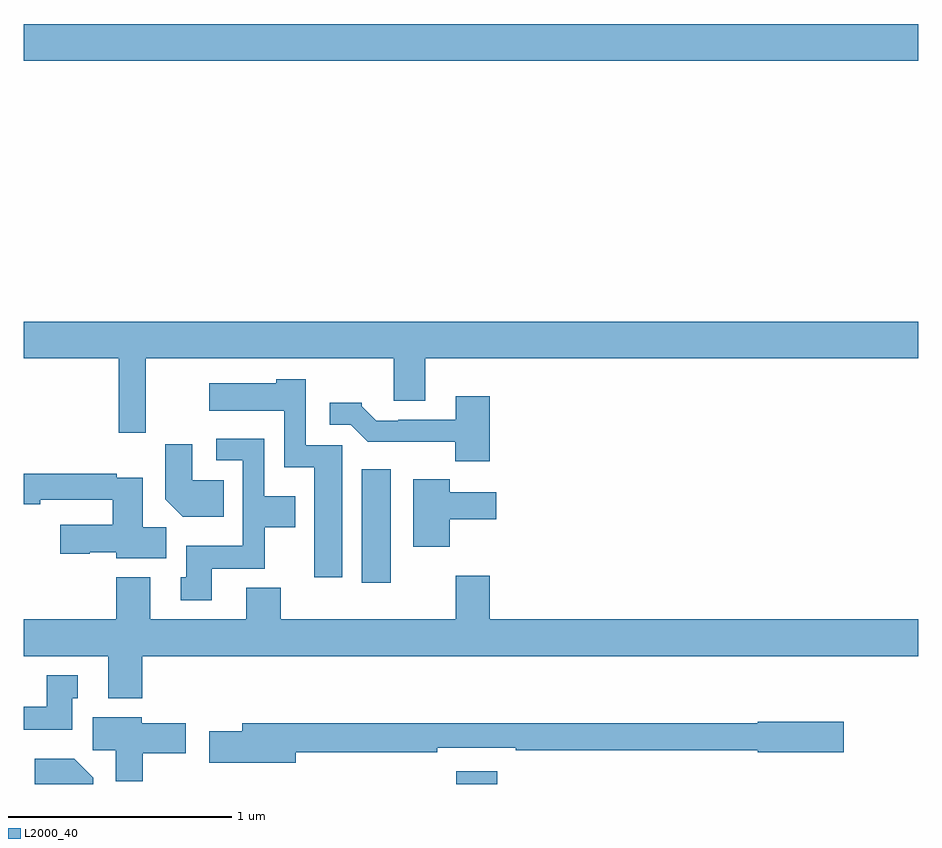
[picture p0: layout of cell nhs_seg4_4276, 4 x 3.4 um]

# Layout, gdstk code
import gdstk
lib = gdstk.Library(unit=1e-6, precision=1e-09)
def R(c, l, rs):  # rectangles x0, y0, x1, y1
    for r in rs: c.add(gdstk.rectangle(r[:2], r[2:], *l))
def P(c, l, *ps):  # polygons
    for p in ps: c.add(gdstk.Polygon(p, *l))
L2000_40 = (2000, 40)

nhs_seg4_4276 = lib.new_cell('nhs_seg4_4276')
R(nhs_seg4_4276, L2000_40, [(340.934,810.9,341.117,810.958), (340.511,811.8,340.642,812.308), (339,814.136,343,814.3)])
P(nhs_seg4_4276, L2000_40, [(339.545,812.804),(340.655,812.804),(340.655,812.614),(340.795,812.614),(340.795,812.804),(343,812.804),(343,812.968),(339,812.968),(339,812.804),(339.424,812.804),(339.424,812.472),(339.545,812.472)],
  [(340.423,812.415),(340.26,812.415),(340.26,812.71),(340.128,812.71),(340.128,812.692),(339.828,812.692),(339.828,812.57),(340.164,812.57),(340.164,812.318),(340.298,812.318),(340.298,811.824),(340.423,811.824)],
  [(341.084,812.635),(340.931,812.635),(340.931,812.529),(340.675,812.529),(340.675,812.526),(340.576,812.526),(340.512,812.59),(340.512,812.605),(340.368,812.605),(340.368,812.508),(340.461,812.508),(340.537,812.432),(340.929,812.432),(340.929,812.345),(341.084,812.345)],
  [(339.841,811.862),(340.077,811.862),(340.077,812.048),(340.213,812.048),(340.213,812.188),(340.074,812.188),(340.074,812.445),(339.861,812.445),(339.861,812.349),(339.978,812.349),(339.978,811.966),(339.725,811.966),(339.725,811.824),(339.701,811.824),(339.701,811.722),(339.841,811.722)],
  [(339.893,812.26),(339.754,812.26),(339.754,812.419),(339.632,812.419),(339.632,812.174),(339.71,812.096),(339.893,812.096)],
  [(339.637,812.048),(339.532,812.048),(339.532,812.27),(339.416,812.27),(339.416,812.288),(339,812.288),(339,812.152),(339.074,812.152),(339.074,812.172),(339.398,812.172),(339.398,812.059),(339.162,812.059),(339.162,811.93),(339.294,811.93),(339.294,811.937),(339.414,811.937),(339.414,811.91),(339.637,811.91)],
  [(340.906,812.084),(341.113,812.084),(341.113,812.206),(340.904,812.206),(340.904,812.263),(340.742,812.263),(340.742,811.962),(340.906,811.962)],
  [(339.53,811.472),(343,811.472),(343,811.636),(341.084,811.636),(341.084,811.831),(340.931,811.831),(340.931,811.636),(340.148,811.636),(340.148,811.777),(339.995,811.777),(339.995,811.636),(339.565,811.636),(339.565,811.825),(339.413,811.825),(339.413,811.636),(339,811.636),(339,811.472),(339.377,811.472),(339.377,811.283),(339.53,811.283)],
  [(339.217,811.284),(339.241,811.284),(339.241,811.387),(339.101,811.387),(339.101,811.246),(339,811.246),(339,811.142),(339.217,811.142)],
  [(339.532,811.037),(339.724,811.037),(339.724,811.171),(339.528,811.171),(339.528,811.198),(339.308,811.198),(339.308,811.051),(339.41,811.051),(339.41,810.912),(339.532,810.912)],
  [(340.216,811.042),(340.85,811.042),(340.85,811.062),(341.2,811.062),(341.2,811.05),(342.282,811.05),(342.282,811.042),(342.667,811.042),(342.667,811.179),(342.282,811.179),(342.282,811.171),(339.977,811.171),(339.977,811.137),(339.828,811.137),(339.828,810.995),(340.216,810.995)],
  [(339.31,810.928),(339.226,811.012),(339.049,811.012),(339.049,810.9),(339.31,810.9)])

lib.write_gds('nhs_seg4_4276.gds')
